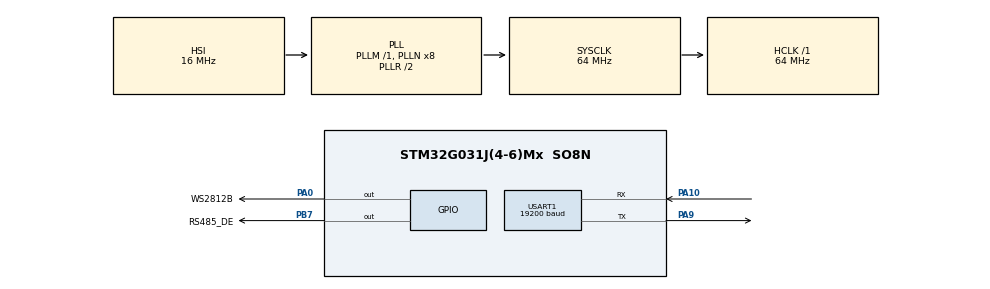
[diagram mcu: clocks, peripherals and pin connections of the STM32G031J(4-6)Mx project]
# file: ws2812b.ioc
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Dma.Request0=USART1_RX
Dma.Request1=USART1_TX
Dma.USART1_RX.0.Direction=DMA_PERIPH_TO_MEMORY
Dma.USART1_RX.0.EventEnable=DISABLE
Dma.USART1_RX.0.Instance=DMA1_Channel1
Dma.USART1_RX.0.MemDataAlignment=DMA_MDATAALIGN_BYTE
Dma.USART1_RX.0.MemInc=DMA_MINC_ENABLE
Dma.USART1_RX.0.Mode=DMA_NORMAL
Dma.USART1_RX.0.PeriphDataAlignment=DMA_PDATAALIGN_BYTE
Dma.USART1_RX.0.PeriphInc=DMA_PINC_DISABLE
Dma.USART1_RX.0.Polarity=HAL_DMAMUX_REQ_GEN_RISING
Dma.USART1_RX.0.Priority=DMA_PRIORITY_LOW
Dma.USART1_RX.0.RequestNumber=1
Dma.USART1_RX.0.SignalID=NONE
Dma.USART1_RX.0.SyncEnable=DISABLE
Dma.USART1_RX.0.SyncPolarity=HAL_DMAMUX_SYNC_NO_EVENT
Dma.USART1_RX.0.SyncRequestNumber=1
Dma.USART1_RX.0.SyncSignalID=NONE
Dma.USART1_TX.1.Direction=DMA_MEMORY_TO_PERIPH
Dma.USART1_TX.1.EventEnable=DISABLE
Dma.USART1_TX.1.Instance=DMA1_Channel2
Dma.USART1_TX.1.MemDataAlignment=DMA_MDATAALIGN_BYTE
Dma.USART1_TX.1.MemInc=DMA_MINC_ENABLE
Dma.USART1_TX.1.Mode=DMA_NORMAL
Dma.USART1_TX.1.PeriphDataAlignment=DMA_PDATAALIGN_BYTE
Dma.USART1_TX.1.PeriphInc=DMA_PINC_DISABLE
Dma.USART1_TX.1.Polarity=HAL_DMAMUX_REQ_GEN_RISING
Dma.USART1_TX.1.Priority=DMA_PRIORITY_LOW
Dma.USART1_TX.1.RequestNumber=1
Dma.USART1_TX.1.SignalID=NONE
Dma.USART1_TX.1.SyncEnable=DISABLE
Dma.USART1_TX.1.SyncPolarity=HAL_DMAMUX_SYNC_NO_EVENT
Dma.USART1_TX.1.SyncRequestNumber=1
Dma.USART1_TX.1.SyncSignalID=NONE
Mcu.Family=STM32G0
Mcu.Name=STM32G031J(4-6)Mx
Mcu.Package=SO8N
NVIC.DMA1_Channel1_IRQn=true\:0\:0\:false\:false\:true\:false\:true
NVIC.DMA1_Channel2_3_IRQn=true\:0\:0\:false\:false\:true\:false\:true
NVIC.USART1_IRQn=true\:0\:0\:false\:false\:true\:true\:true
PA0.GPIO_Label=WS2812B
PA0.GPIO_Speed=GPIO_SPEED_FREQ_VERY_HIGH
PA0.Signal=GPIO_Output
PA10\ [PA12].GPIO_Speed=GPIO_SPEED_FREQ_VERY_HIGH
PA10\ [PA12].Mode=Asynchronous
PA10\ [PA12].Signal=USART1_RX
PA13.Mode=Serial_Wire
PA13.Signal=SYS_SWDIO
PA14-BOOT0.Mode=Serial_Wire
PA14-BOOT0.Signal=SYS_SWCLK
PA9\ [PA11].GPIO_Speed=GPIO_SPEED_FREQ_VERY_HIGH
PA9\ [PA11].Mode=Asynchronous
PA9\ [PA11].Signal=USART1_TX
PB7.GPIO_Label=RS485_DE
PB7.GPIO_Speed=GPIO_SPEED_FREQ_VERY_HIGH
PB7.Signal=GPIO_Output
ProjectManager.HeapSize=0x200
ProjectManager.StackSize=0x400
ProjectManager.TargetToolchain=Makefile
RCC.ADCFreq_Value=64000000
RCC.AHBFreq_Value=64000000
RCC.CortexFreq_Value=64000000
RCC.EXTERNAL_CLOCK_VALUE=12288000
RCC.HCLKFreq_Value=64000000
RCC.HSE_VALUE=8000000
RCC.HSI_VALUE=16000000
RCC.LSE_VALUE=32768
RCC.SYSCLKFreq_VALUE=64000000
RCC.SYSCLKSource=RCC_SYSCLKSOURCE_PLLCLK
RCC.VCOOutputFreq_Value=128000000
USART1.BaudRate=19200
USART1.VirtualMode-Asynchronous=VM_ASYNC
VP_IWDG_VS_IWDG.Mode=IWDG_Activate
VP_SYS_VS_PINREMAP.Mode=PINREMAP
VP_SYS_VS_PINREMAP_10_12.Mode=PINREMAP_10_12
VP_TIM2_VS_ClockSourceINT.Mode=Internal
board=custom

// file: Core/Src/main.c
/* USER CODE BEGIN Header */
/**
  ******************************************************************************
  * @file           : main.c
  * @brief          : Main program body
  ******************************************************************************
  * @attention
  *
  * Copyright (c) 2022 STMicroelectronics.
  * All rights reserved.
  *
  * This software is licensed under terms that can be found in the LICENSE file
  * in the root directory of this software component.
  * If no LICENSE file comes with this software, it is provided AS-IS.
  *
  ******************************************************************************
  */
/* USER CODE END Header */
#include "main.h"
#include "dma.h"
#include "iwdg.h"
#include "tim.h"
#include "usart.h"
#include "gpio.h"

/* USER CODE BEGIN Includes */
#include <stdlib.h>
#include <string.h>
#include "../../ws2812b.h"
#include "../../stm32_uart_dma.h"
/* USER CODE END Includes */

/* USER CODE BEGIN PV */
ws2812b rgbled;
stm32_uart_dma modbus;
uint16_t test_var = 0;
uint32_t my_color = 0;
/* USER CODE END PV */

void SystemClock_Config(void);

/* USER CODE BEGIN 0 */
void malumot_keldi(uint8_t *data, uint16_t len)
{
  test_var++;
  char *com_color = strstr((const char *)data, "0x");
  my_color = strtol((const char *)com_color, NULL, 0);
  stm32_uart_dma_write(&modbus, data, len);
}
/* USER CODE END 0 */

int main(void)
{

  /* MCU Configuration--------------------------------------------------------*/

  /* Reset of all peripherals, Initializes the Flash interface and the Systick. */
  HAL_Init();

  /* Configure the system clock */
  SystemClock_Config();

  /* Initialize all configured peripherals */
  MX_GPIO_Init();
  MX_DMA_Init();
  MX_USART1_UART_Init();
  MX_TIM2_Init();
  // MX_IWDG_Init(); // watchdogni yoqish esdan chiqmasin
  /* USER CODE BEGIN 2 */
  /* adresni led initsalizatsiyasi */
  rgbled.gpio = GPIOA;
  rgbled.pin = GPIO_PIN_0;
  rgbled.length = 256;
  ws2812b_init(&rgbled);
  /* modbus uchun uart initsalizatsiyasi */
  modbus.de_gpio = GPIOB;
  modbus.de_pin = GPIO_PIN_7;
  modbus.uart = &huart1;
  modbus.rxbuf_max_size = 128;
  stm32_uart_dma_init(&modbus, malumot_keldi);
  /* USER CODE END 2 */

  /* Infinite loop */
  while (1)
  {

    /* USER CODE BEGIN 3 */
    for (uint16_t i = 0; i < rgbled.length; i++)
    {
      stm32_uart_dma_loop(&modbus);
      ws2812b_set(&rgbled, i, my_color);
      ws2812b_update(&rgbled);
      HAL_Delay(50);
      ws2812b_set(&rgbled, i, 0x000000);
    }
  }
  /* USER CODE END 3 */
}

void SystemClock_Config(void)
{
  RCC_OscInitTypeDef RCC_OscInitStruct = {0};
  RCC_ClkInitTypeDef RCC_ClkInitStruct = {0};

  /** Configure the main internal regulator output voltage
  */
  HAL_PWREx_ControlVoltageScaling(PWR_REGULATOR_VOLTAGE_SCALE1);
  /** Initializes the RCC Oscillators according to the specified parameters
  * in the RCC_OscInitTypeDef structure.
  */
  RCC_OscInitStruct.OscillatorType = RCC_OSCILLATORTYPE_HSI|RCC_OSCILLATORTYPE_LSI;
  RCC_OscInitStruct.HSIState = RCC_HSI_ON;
  RCC_OscInitStruct.HSIDiv = RCC_HSI_DIV1;
  RCC_OscInitStruct.HSICalibrationValue = RCC_HSICALIBRATION_DEFAULT;
  RCC_OscInitStruct.LSIState = RCC_LSI_ON;
  RCC_OscInitStruct.PLL.PLLState = RCC_PLL_ON;
  RCC_OscInitStruct.PLL.PLLSource = RCC_PLLSOURCE_HSI;
  RCC_OscInitStruct.PLL.PLLM = RCC_PLLM_DIV1;
  RCC_OscInitStruct.PLL.PLLN = 8;
  RCC_OscInitStruct.PLL.PLLP = RCC_PLLP_DIV2;
  RCC_OscInitStruct.PLL.PLLQ = RCC_PLLQ_DIV2;
  RCC_OscInitStruct.PLL.PLLR = RCC_PLLR_DIV2;
  if (HAL_RCC_OscConfig(&RCC_OscInitStruct) != HAL_OK)
  {
    Error_Handler();
  }
  /** Initializes the CPU, AHB and APB buses clocks
  */
  RCC_ClkInitStruct.ClockType = RCC_CLOCKTYPE_HCLK|RCC_CLOCKTYPE_SYSCLK
                              |RCC_CLOCKTYPE_PCLK1;
  RCC_ClkInitStruct.SYSCLKSource = RCC_SYSCLKSOURCE_PLLCLK;
  RCC_ClkInitStruct.AHBCLKDivider = RCC_SYSCLK_DIV1;
  RCC_ClkInitStruct.APB1CLKDivider = RCC_HCLK_DIV1;

  if (HAL_RCC_ClockConfig(&RCC_ClkInitStruct, FLASH_LATENCY_2) != HAL_OK)
  {
    Error_Handler();
  }
}

void Error_Handler(void)
{
  __disable_irq();
  while (1)
  {
  }
}
